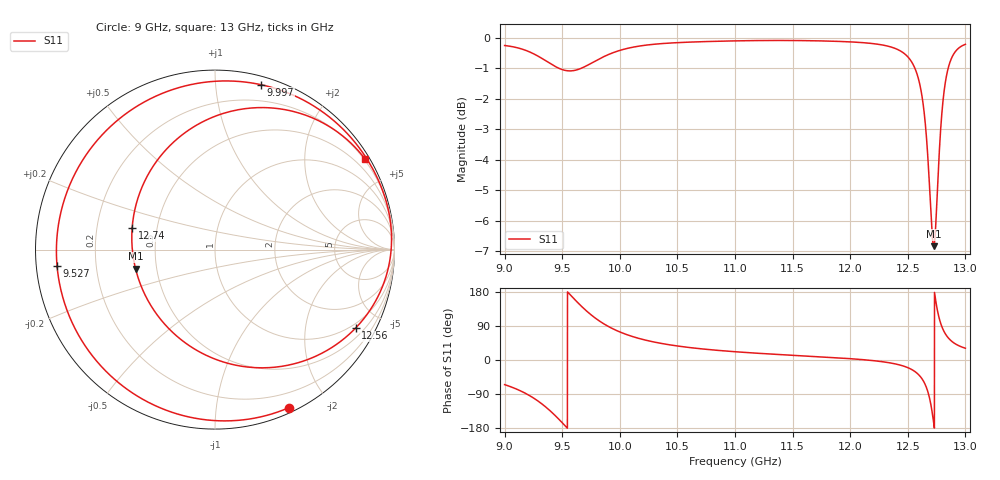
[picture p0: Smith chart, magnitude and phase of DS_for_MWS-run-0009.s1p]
! TOUCHSTONE file generated by CST DESIGN STUDIO
! Date and time: Tue Feb  4 17:33:47 2025
! Project name: C:\Work\MatlabApps\UnitCellOptimizationMatlab\CST\unitcell.cst
! Tree item: Tasks\Sweep1\SPara1\S-Parameters
! Header version: 2024
! Port assignment regex: !\s*Touchstone port\s*([0-9]+)\s*=\s*(CST MWS port|CST DES external port|CST DES block port)\s*(.+)\s* \(\"(.*)\"\)(\s*mode\s*([0-9]+))?.*
! Touchstone port assignment:
! Touchstone port 1 = CST DES external port 1 ("")
# GHz S MA R 50
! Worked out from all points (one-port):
!   4001 points, 9 GHz to 13 GHz, reference 50 ohm
!   lowest |S11| = -6.8 dB at 12.72 GHz (marker M1), VSWR 2.67, Z = 18.9 - j5.12 ohm
!   |S11| at or under -10 dB: nowhere
!   S11 on the Smith chart (normalised r, x): 9 GHz: 0.05, -1.57; 9.527 GHz: 0.06, -0.05; 9.997 GHz: 0.06, +1.31; 12.56 GHz: 0.82, -3.67; 12.74 GHz: 0.36, +0.11; 13 GHz: 0.17, +3.59
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9  0.972 -65.0
9.14  0.9605 -81.7
9.29  0.9338 -108.3
9.393  0.9088 -133.5
9.5  0.8875 -165.5
9.527  0.8847 -174.1
9.623  0.8862 155.1
9.748  0.9082 119.9
9.857  0.9312 96.2
9.997  0.9538 74.5
10  0.9542 74.1
10.215  0.9728 53.1
10.5  0.9827 37.0
11  0.9892 21.8
11.5  0.9906 12.4
12  0.9855 3.5
12.31  0.9714 -5.9
12.5  0.9315 -20.2
12.556  0.8969 -29.2
12.618  0.8139 -47.3
12.667  0.6672 -77.0
12.696  0.5357 -110.8
12.725  0.4553 -166.4
12.738  0.4768 165.5
12.774  0.6532 108.5
12.81  0.8027 78.0
12.886  0.932 48.2
13  0.9765 31.0
